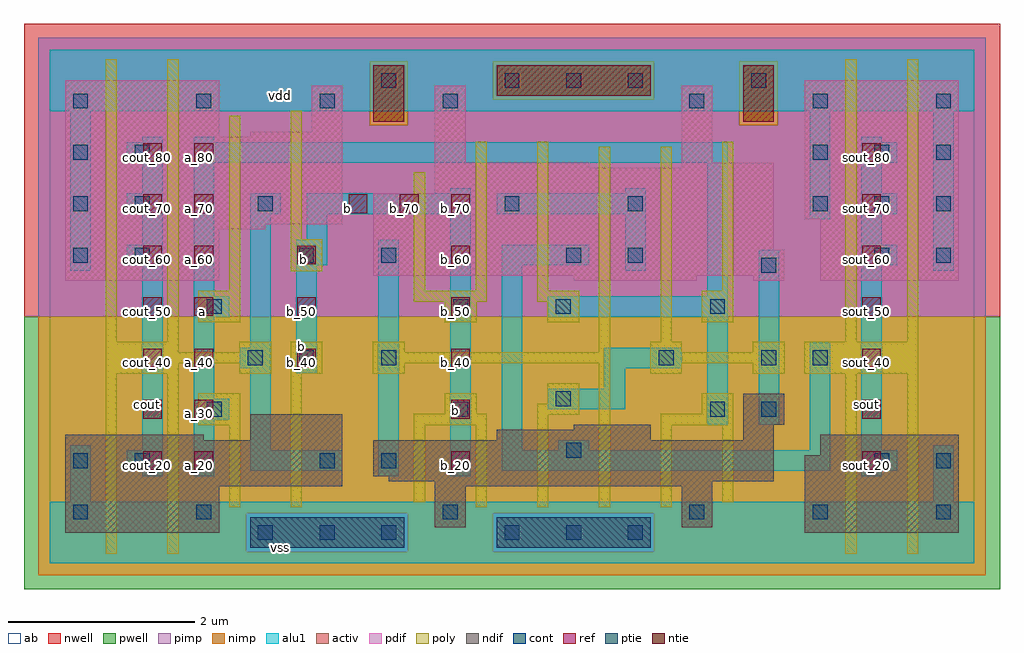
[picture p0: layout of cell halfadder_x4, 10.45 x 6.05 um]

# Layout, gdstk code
import gdstk
lib = gdstk.Library(unit=1e-6, precision=2.5e-09)
def R(c, l, rs):  # rectangles x0, y0, x1, y1
    for r in rs: c.add(gdstk.rectangle(r[:2], r[2:], *l))
def A(c, l, x, y, w, h, nx, ny, dx, dy):  # array of equal rectangles
    R(c, l, [(x+i*dx, y+j*dy, x+i*dx+w, y+j*dy+h) for i in range(nx) for j in range(ny)])
ndif = (3, 0)
pdif = (4, 0)
ntie = (5, 0)
ptie = (6, 0)
ref = (24, 0)
cont = (25, 0)
pwell = (41, 0)
nwell = (42, 0)
activ = (43, 0)
pimp = (44, 0)
nimp = (45, 0)
poly = (46, 0)
alu1 = (49, 0)
ab = (63, 0)

halfadder_x4 = lib.new_cell('halfadder_x4')
R(halfadder_x4, ndif, [(0.165,0.33,1.815,0.825), (8.085,0.33,9.735,1.155), (4.125,0.385,4.455,0.825), (6.765,0.385,7.095,0.825), (0.165,0.825,3.135,1.32), (4.125,0.825,7.095,0.88), (3.63,0.88,7.755,0.935), (3.465,0.935,7.755,1.32), (8.25,1.155,9.735,1.375), (0.165,1.32,1.65,1.375), (2.145,1.32,3.135,1.595), (4.785,1.32,6.435,1.43), (7.425,1.32,7.755,1.485), (5.61,1.43,6.435,1.485), (7.425,1.485,7.865,1.815)])
R(halfadder_x4, pdif, [(0.165,3.025,1.815,3.575), (5.61,3.025,6.93,3.08), (7.535,3.025,7.865,3.08), (8.25,3.025,9.735,3.685), (3.465,3.08,7.865,3.355), (3.465,3.355,7.755,3.96), (0.165,3.575,2.31,3.63), (0.165,3.63,3.135,4.565), (8.085,3.685,9.735,5.17), (4.125,3.96,7.755,4.235), (4.125,4.235,5.775,4.29), (6.765,4.235,7.755,4.29), (4.125,4.29,4.455,5.115), (6.765,4.29,7.095,5.115), (0.165,4.565,1.815,5.17), (2.145,4.565,3.135,4.62), (2.805,4.62,3.135,5.115)])
R(halfadder_x4, ntie, [(3.465,4.73,3.795,5.335), (7.425,4.73,7.755,5.335), (4.785,5.005,6.435,5.335)])
R(halfadder_x4, ptie, [(2.145,0.165,3.795,0.495), (4.785,0.165,6.435,0.495)])
A(halfadder_x4, ref, 1, 1, 0.2, 0.2, 1, 7, 0, 0.55)
A(halfadder_x4, ref, 1.55, 1, 0.2, 0.2, 1, 7, 0, 0.55)
A(halfadder_x4, ref, 4.3, 1, 0.2, 0.2, 1, 5, 0, 0.55)
A(halfadder_x4, ref, 8.7, 1, 0.2, 0.2, 1, 7, 0, 0.55)
A(halfadder_x4, ref, 2.65, 2.1, 0.2, 0.2, 1, 3, 0, 0.55)
A(halfadder_x4, ref, 3.2, 3.75, 0.2, 0.2, 3, 1, 0.55, 0)
A(halfadder_x4, cont, 2.23, 0.25, 0.16, 0.16, 3, 1, 0.66, 0)
A(halfadder_x4, cont, 4.87, 0.25, 0.16, 0.16, 3, 2, 0.66, 4.84)
A(halfadder_x4, cont, 1.57, 0.47, 0.16, 0.16, 3, 1, 2.64, 0)
A(halfadder_x4, cont, 3.55, 1.02, 0.16, 0.16, 1, 3, 0, 1.1)
A(halfadder_x4, cont, 0.25, 3.22, 0.16, 0.16, 1, 3, 0, 0.55)
A(halfadder_x4, cont, 0.91, 3.22, 0.16, 0.16, 1, 3, 0, 0.55)
A(halfadder_x4, cont, 8.17, 3.77, 0.16, 0.16, 3, 2, 0.66, 0.55)
A(halfadder_x4, cont, 0.25, 4.87, 0.16, 0.16, 4, 1, 1.32, 0)
A(halfadder_x4, cont, 6.85, 4.87, 0.16, 0.16, 3, 1, 1.32, 0)
R(halfadder_x4, cont, [(0.25,0.47,0.41,0.63), (8.17,0.47,8.33,0.63), (9.49,0.47,9.65,0.63), (0.25,1.02,0.41,1.18), (0.91,1.02,1.07,1.18), (2.89,1.02,3.05,1.18), (8.83,1.02,8.99,1.18), (9.49,1.02,9.65,1.18), (5.53,1.13,5.69,1.29), (1.68,1.57,1.84,1.73), (4.32,1.57,4.48,1.73), (7.07,1.57,7.23,1.73), (7.62,1.57,7.78,1.73), (5.42,1.68,5.58,1.84), (2.12,2.12,2.28,2.28), (2.67,2.12,2.83,2.28), (6.52,2.12,6.68,2.28), (7.62,2.12,7.78,2.28), (8.17,2.12,8.33,2.28), (1.68,2.67,1.84,2.83), (4.32,2.67,4.48,2.83), (5.42,2.67,5.58,2.83), (7.07,2.67,7.23,2.83), (7.62,3.11,7.78,3.27), (2.67,3.22,2.83,3.38), (5.53,3.22,5.69,3.38), (6.19,3.22,6.35,3.38), (8.83,3.22,8.99,3.38), (9.49,3.22,9.65,3.38), (2.23,3.77,2.39,3.93), (4.87,3.77,5.03,3.93), (6.19,3.77,6.35,3.93), (3.55,5.09,3.71,5.25), (7.51,5.09,7.67,5.25)])
R(halfadder_x4, pwell, [(-0.275,-0.275,10.175,2.64)])
R(halfadder_x4, nwell, [(-0.275,2.64,10.175,5.775)])
R(halfadder_x4, activ, [(2.145,0.165,3.795,0.495), (4.785,0.165,6.435,0.495), (0.165,0.33,1.815,0.825), (8.085,0.33,9.735,1.155), (4.125,0.385,4.455,0.825), (6.765,0.385,7.095,0.825), (0.165,0.825,3.135,1.32), (4.125,0.825,7.095,0.88), (3.63,0.88,7.755,0.935), (3.465,0.935,7.755,1.32), (8.25,1.155,9.735,1.375), (0.165,1.32,1.65,1.375), (2.145,1.32,3.135,1.595), (4.785,1.32,6.435,1.43), (7.425,1.32,7.755,1.485), (5.61,1.43,6.435,1.485), (7.425,1.485,7.865,1.815), (0.165,3.025,1.815,3.575), (5.61,3.025,6.93,3.08), (7.535,3.025,7.865,3.08), (8.25,3.025,9.735,3.685), (3.465,3.08,7.865,3.355), (3.465,3.355,7.755,3.96), (0.165,3.575,2.31,3.63), (0.165,3.63,3.135,4.565), (8.085,3.685,9.735,5.17), (4.125,3.96,7.755,4.235), (4.125,4.235,5.775,4.29), (6.765,4.235,7.755,4.29), (4.125,4.29,4.455,5.115), (6.765,4.29,7.095,5.115), (0.165,4.565,1.815,5.17), (2.145,4.565,3.135,4.62), (2.805,4.62,3.135,5.115), (3.465,4.73,3.795,5.335), (7.425,4.73,7.755,5.335), (4.785,5.005,6.435,5.335)])
R(halfadder_x4, pimp, [(2.105,0.125,3.835,0.535), (4.745,0.125,6.475,0.535), (-0.125,2.64,10.025,4.69), (-0.125,4.69,3.425,5.375), (3.835,4.69,7.385,4.965), (7.795,4.69,10.025,5.375), (3.835,4.965,4.745,5.375), (6.475,4.965,7.385,5.375), (-0.125,5.375,10.025,5.625)])
R(halfadder_x4, nimp, [(-0.125,-0.125,10.025,0.125), (-0.125,0.125,2.105,0.535), (3.835,0.125,4.745,0.535), (6.475,0.125,10.025,0.535), (-0.125,0.535,10.025,2.64), (3.425,4.69,3.835,5.375), (7.385,4.69,7.795,5.375), (4.745,4.965,6.475,5.375)])
R(halfadder_x4, poly, [(0.6,0.105,0.72,2.03), (1.26,0.105,1.38,2.03), (8.52,0.105,8.64,2.03), (9.18,0.105,9.3,2.03), (1.92,0.6,2.04,1.48), (2.58,0.6,2.7,2.03), (4.56,0.6,4.68,1.48), (5.22,0.6,5.34,1.59), (5.88,0.6,6,2.14), (6.54,0.6,6.66,1.48), (3.9,0.655,4.02,1.48), (7.2,0.655,7.32,1.48), (1.59,1.48,2.04,1.82), (3.9,1.48,4.68,1.6), (6.54,1.48,7.32,1.6), (5.22,1.59,5.67,1.71), (4.23,1.6,4.57,1.82), (6.98,1.6,7.32,1.82), (5.33,1.71,5.67,1.93), (0.6,2.03,1.38,2.14), (2.03,2.03,2.37,2.14), (2.58,2.03,2.92,2.37), (3.46,2.03,3.8,2.14), (6.43,2.03,6.77,2.14), (7.53,2.03,7.87,2.14), (8.08,2.03,9.3,2.37), (0.6,2.14,2.37,2.26), (3.46,2.14,6,2.26), (6.43,2.14,7.87,2.26), (0.6,2.26,1.38,2.37), (2.03,2.26,2.37,2.37), (3.46,2.26,3.8,2.37), (5.88,2.26,6,4.46), (6.43,2.26,6.77,2.37), (7.53,2.26,7.87,2.37), (0.6,2.37,0.72,5.395), (1.26,2.37,1.38,5.395), (6.54,2.37,6.66,4.46), (8.52,2.37,8.64,5.395), (9.18,2.37,9.3,5.395), (1.59,2.58,2.04,2.92), (4.23,2.58,4.57,2.8), (5.33,2.58,5.67,2.8), (6.98,2.58,7.32,2.92), (3.9,2.8,4.68,2.92), (5.22,2.8,5.67,2.92), (1.92,2.92,2.04,4.79), (3.9,2.92,4.02,4.185), (4.56,2.92,4.68,4.515), (5.22,2.92,5.34,4.515), (7.2,2.92,7.32,4.515), (2.58,3.13,2.92,3.47), (2.58,3.47,2.7,4.845)])
A(halfadder_x4, alu1, 0.99, 1.21, 0.22, 1.98, 3, 1, 3.85, 0)
A(halfadder_x4, alu1, 0.825, 3.19, 0.385, 0.22, 1, 3, 0, 0.55)
A(halfadder_x4, alu1, 8.69, 3.19, 0.385, 0.22, 1, 3, 0, 0.55)
R(halfadder_x4, alu1, [(0,0,9.9,0.66), (0.22,0.66,0.44,1.265), (9.46,0.66,9.68,1.265), (0.99,0.935,1.21,0.99), (1.54,0.935,1.76,1.54), (3.52,0.935,3.74,3.465), (4.29,0.935,4.51,3.74), (8.69,0.935,8.91,0.99), (0.825,0.99,1.21,1.21), (2.145,0.99,3.135,1.21), (4.84,0.99,8.36,1.21), (8.69,0.99,9.075,1.21), (2.145,1.21,2.365,2.09), (5.445,1.21,5.775,1.32), (8.14,1.21,8.36,2.365), (7.04,1.485,7.26,2.64), (7.59,1.485,7.81,3.355), (1.54,1.54,1.925,1.76), (5.335,1.65,6.16,1.87), (1.54,1.76,1.76,2.64), (5.94,1.87,6.16,2.09), (2.64,2.035,2.86,3.19), (2.035,2.09,2.365,2.31), (5.94,2.09,6.765,2.31), (2.145,2.31,2.365,3.74), (1.54,2.64,1.925,2.86), (5.335,2.64,7.26,2.86), (1.54,2.86,1.76,4.29), (7.04,2.86,7.26,4.29), (0.22,3.135,0.44,4.84), (6.16,3.135,6.38,3.74), (9.46,3.135,9.68,4.84), (2.64,3.19,2.97,3.465), (4.84,3.19,5.775,3.41), (0.99,3.41,1.21,3.74), (8.69,3.41,8.91,3.74), (2.75,3.465,2.97,3.74), (8.14,3.685,8.36,4.84), (2.145,3.74,2.475,3.96), (2.75,3.74,4.51,3.96), (4.785,3.74,6.38,3.96), (0.99,3.96,1.21,4.29), (4.29,3.96,4.51,4.015), (6.16,3.96,6.38,4.015), (8.69,3.96,8.91,4.29), (1.54,4.29,7.26,4.51), (0.99,4.51,1.21,4.565), (1.54,4.51,1.76,4.565), (8.69,4.51,8.91,4.565), (0,4.84,9.9,5.5)])
R(halfadder_x4, ab, [(0,0,9.9,5.5)])
halfadder_x4.add(gdstk.Label('vss', (2.475,0.165), layer=49, texttype=0))
halfadder_x4.add(gdstk.Label('sout', (8.745,1.705), layer=49, texttype=0))
halfadder_x4.add(gdstk.Label('b', (4.345,1.635), layer=49, texttype=0))
halfadder_x4.add(gdstk.Label('b', (2.695,2.3225), layer=49, texttype=0))
halfadder_x4.add(gdstk.Label('b', (2.7225,3.2575), layer=49, texttype=0))
halfadder_x4.add(gdstk.Label('a', (1.635,2.695), layer=49, texttype=0))
halfadder_x4.add(gdstk.Label('b', (3.19,3.795), layer=49, texttype=0))
halfadder_x4.add(gdstk.Label('cout', (1.045,1.705), layer=49, texttype=0))
halfadder_x4.add(gdstk.Label('vdd', (2.475,5.005), layer=49, texttype=0))
halfadder_x4.add(gdstk.Label('b_40', (2.7,2.15), layer=24, texttype=0))
halfadder_x4.add(gdstk.Label('b_50', (2.7,2.7), layer=24, texttype=0))
halfadder_x4.add(gdstk.Label('b_60', (2.7,3.25), layer=24, texttype=0))
halfadder_x4.add(gdstk.Label('b_70', (3.25,3.8), layer=24, texttype=0))
halfadder_x4.add(gdstk.Label('b_70', (3.8,3.8), layer=24, texttype=0))
halfadder_x4.add(gdstk.Label('sout_30', (8.75,1.6), layer=24, texttype=0))
halfadder_x4.add(gdstk.Label('sout_40', (8.75,2.15), layer=24, texttype=0))
halfadder_x4.add(gdstk.Label('sout_50', (8.75,2.7), layer=24, texttype=0))
halfadder_x4.add(gdstk.Label('sout_70', (8.75,3.8), layer=24, texttype=0))
halfadder_x4.add(gdstk.Label('sout_60', (8.75,3.25), layer=24, texttype=0))
halfadder_x4.add(gdstk.Label('sout_20', (8.75,1.05), layer=24, texttype=0))
halfadder_x4.add(gdstk.Label('sout_80', (8.75,4.35), layer=24, texttype=0))
halfadder_x4.add(gdstk.Label('b_60', (4.35,3.25), layer=24, texttype=0))
halfadder_x4.add(gdstk.Label('b_50', (4.35,2.7), layer=24, texttype=0))
halfadder_x4.add(gdstk.Label('b_40', (4.35,2.15), layer=24, texttype=0))
halfadder_x4.add(gdstk.Label('b_30', (4.35,1.6), layer=24, texttype=0))
halfadder_x4.add(gdstk.Label('b_20', (4.35,1.05), layer=24, texttype=0))
halfadder_x4.add(gdstk.Label('b_70', (4.35,3.8), layer=24, texttype=0))
halfadder_x4.add(gdstk.Label('a_40', (1.6,2.15), layer=24, texttype=0))
halfadder_x4.add(gdstk.Label('a_50', (1.6,2.7), layer=24, texttype=0))
halfadder_x4.add(gdstk.Label('a_30', (1.6,1.6), layer=24, texttype=0))
halfadder_x4.add(gdstk.Label('a_20', (1.6,1.05), layer=24, texttype=0))
halfadder_x4.add(gdstk.Label('a_80', (1.6,4.35), layer=24, texttype=0))
halfadder_x4.add(gdstk.Label('a_70', (1.6,3.8), layer=24, texttype=0))
halfadder_x4.add(gdstk.Label('a_60', (1.6,3.25), layer=24, texttype=0))
halfadder_x4.add(gdstk.Label('cout_30', (1.05,1.6), layer=24, texttype=0))
halfadder_x4.add(gdstk.Label('cout_40', (1.05,2.15), layer=24, texttype=0))
halfadder_x4.add(gdstk.Label('cout_50', (1.05,2.7), layer=24, texttype=0))
halfadder_x4.add(gdstk.Label('cout_70', (1.05,3.8), layer=24, texttype=0))
halfadder_x4.add(gdstk.Label('cout_60', (1.05,3.25), layer=24, texttype=0))
halfadder_x4.add(gdstk.Label('cout_20', (1.05,1.05), layer=24, texttype=0))
halfadder_x4.add(gdstk.Label('cout_80', (1.05,4.35), layer=24, texttype=0))

lib.write_gds('halfadder_x4.gds')
